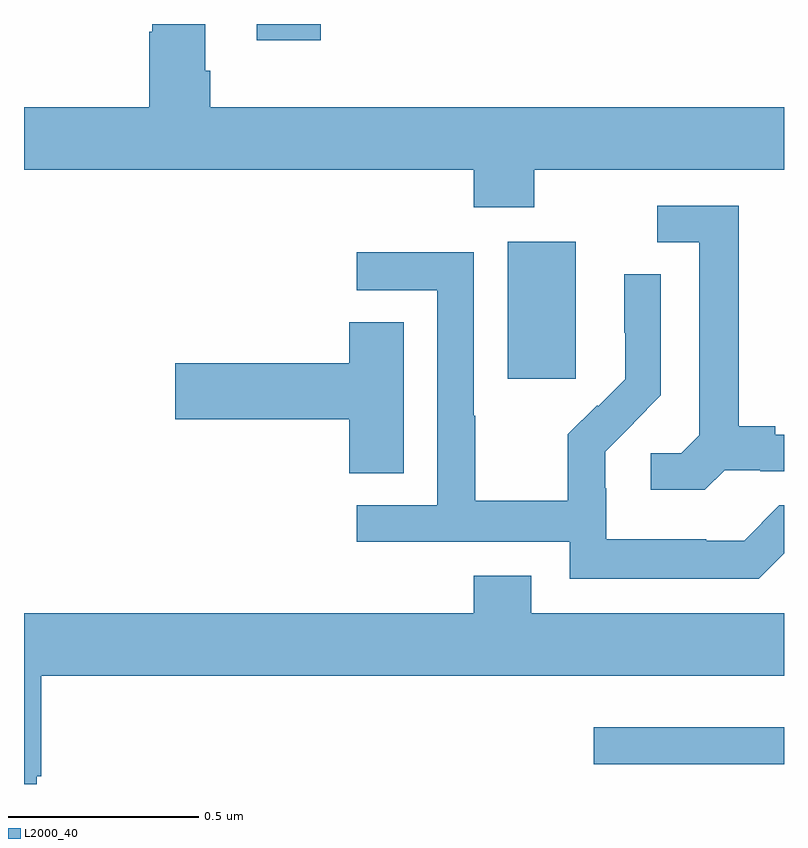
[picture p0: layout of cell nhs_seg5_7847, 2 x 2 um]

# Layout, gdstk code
import gdstk
lib = gdstk.Library(unit=1e-6, precision=1e-09)
def R(c, l, rs):  # rectangles x0, y0, x1, y1
    for r in rs: c.add(gdstk.rectangle(r[:2], r[2:], *l))
def P(c, l, *ps):  # polygons
    for p in ps: c.add(gdstk.Polygon(p, *l))
L2000_40 = (2000, 40)

nhs_seg5_7847 = lib.new_cell('nhs_seg5_7847')
R(nhs_seg5_7847, L2000_40, [(215.499,865.851,216,865.948), (215.273,866.865,215.452,867.226), (214.613,867.756,214.781,867.799)])
P(nhs_seg5_7847, L2000_40, [(215.343,867.416),(216,867.416),(216,867.58),(214.49,867.58),(214.49,867.676),(214.477,867.676),(214.477,867.799),(214.337,867.799),(214.337,867.779),(214.33,867.779),(214.33,867.58),(214,867.58),(214,867.416),(215.183,867.416),(215.183,867.317),(215.343,867.317)],
  [(215.844,866.625),(215.938,866.625),(215.938,866.622),(216,866.622),(216,866.718),(215.977,866.718),(215.977,866.741),(215.881,866.741),(215.881,867.321),(215.667,867.321),(215.667,867.225),(215.777,867.225),(215.777,866.717),(215.73,866.67),(215.649,866.67),(215.649,866.573),(215.792,866.573)],
  [(216,866.406),(216,866.532),(215.988,866.532),(215.895,866.439),(215.795,866.439),(215.795,866.443),(215.532,866.443),(215.532,866.577),(215.53,866.577),(215.53,866.674),(215.604,866.748),(215.603,866.749),(215.676,866.822),(215.676,867.14),(215.58,867.14),(215.58,866.986),(215.582,866.986),(215.582,866.864),(215.511,866.793),(215.508,866.796),(215.431,866.719),(215.431,866.545),(215.187,866.545),(215.187,866.768),(215.184,866.768),(215.184,867.198),(214.875,867.198),(214.875,867.099),(215.088,867.099),(215.088,866.532),(214.875,866.532),(214.875,866.436),(215.436,866.436),(215.436,866.339),(215.933,866.339)],
  [(214.999,867.014),(214.856,867.014),(214.856,866.906),(214.398,866.906),(214.398,866.759),(214.856,866.759),(214.856,866.617),(214.999,866.617)],
  [(214.033,865.819),(214.046,865.819),(214.046,866.084),(216,866.084),(216,866.248),(215.335,866.248),(215.335,866.347),(215.183,866.347),(215.183,866.248),(214,866.248),(214,865.799),(214.033,865.799)])

lib.write_gds('nhs_seg5_7847.gds')
